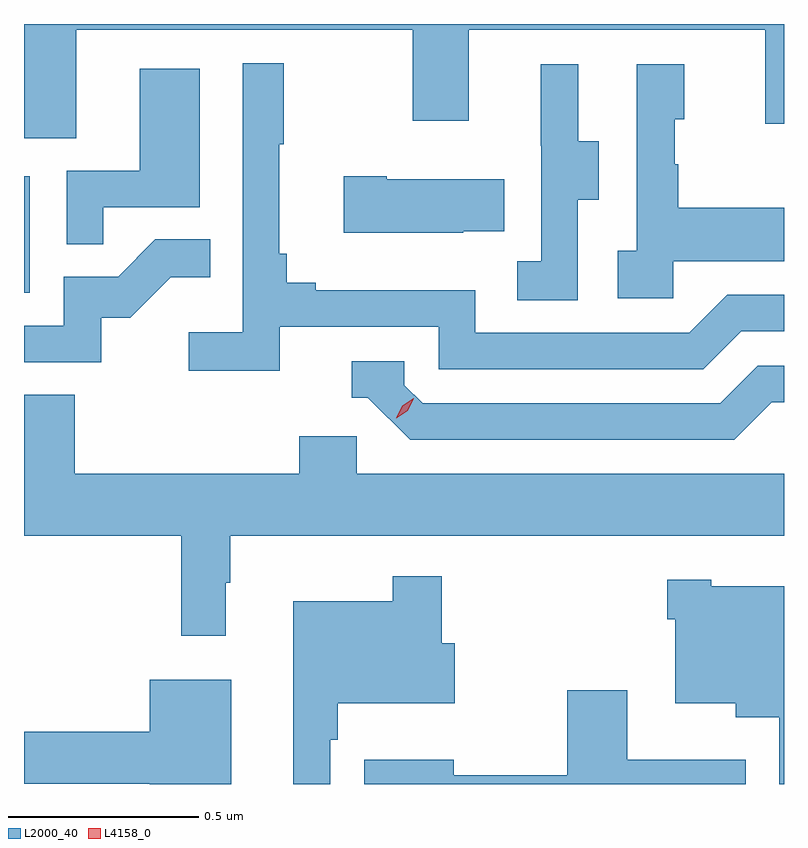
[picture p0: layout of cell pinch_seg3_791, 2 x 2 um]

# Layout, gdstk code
import gdstk
lib = gdstk.Library(unit=1e-6, precision=1e-09)
def R(c, l, rs):  # rectangles x0, y0, x1, y1
    for r in rs: c.add(gdstk.rectangle(r[:2], r[2:], *l))
def P(c, l, *ps):  # polygons
    for p in ps: c.add(gdstk.Polygon(p, *l))
L2000_40 = (2000, 40)
L4158_0 = (4158, 0)

pinch_seg3_791 = lib.new_cell('pinch_seg3_791')
R(pinch_seg3_791, L2000_40, [(817.705,738.852,817.72,739.159)])
P(pinch_seg3_791, L2000_40, [(817.843,739.544),(818.728,739.544),(818.728,739.305),(818.875,739.305),(818.875,739.544),(819.656,739.544),(819.656,739.296),(819.705,739.296),(819.705,739.559),(817.705,739.559),(817.705,739.258),(817.843,739.258)],
  [(818.378,738.762),(818.796,738.762),(818.796,738.651),(819.493,738.651),(819.592,738.75),(819.705,738.75),(819.705,738.846),(819.555,738.846),(819.456,738.747),(818.892,738.747),(818.892,738.859),(818.473,738.859),(818.473,738.878),(818.396,738.878),(818.396,738.955),(818.377,738.955),(818.377,739.243),(818.389,739.243),(818.389,739.456),(818.28,739.456),(818.28,738.748),(818.139,738.748),(818.139,738.646),(818.378,738.646)],
  [(819.414,738.935),(819.705,738.935),(819.705,739.075),(819.427,739.075),(819.427,739.19),(819.417,739.19),(819.417,739.308),(819.442,739.308),(819.442,739.453),(819.318,739.453),(819.318,738.962),(819.267,738.962),(819.267,738.837),(819.414,738.837)],
  [(819.162,739.096),(819.217,739.096),(819.217,739.251),(819.163,739.251),(819.163,739.453),(819.065,739.453),(819.065,739.239),(819.066,739.239),(819.066,738.935),(819.003,738.935),(819.003,738.832),(819.162,738.832)],
  [(817.913,739.077),(818.167,739.077),(818.167,739.441),(818.009,739.441),(818.009,739.173),(817.818,739.173),(817.818,738.979),(817.913,738.979)],
  [(818.861,739.013),(818.969,739.013),(818.969,739.15),(818.659,739.15),(818.659,739.158),(818.547,739.158),(818.547,739.01),(818.861,739.01)],
  [(817.908,738.786),(817.984,738.786),(818.091,738.893),(818.195,738.893),(818.195,738.992),(818.051,738.992),(817.953,738.894),(817.809,738.894),(817.809,738.765),(817.705,738.765),(817.705,738.669),(817.908,738.669)],
  [(819.673,738.564),(819.705,738.564),(819.705,738.66),(819.636,738.66),(819.537,738.561),(818.754,738.561),(818.706,738.609),(818.706,738.672),(818.567,738.672),(818.567,738.576),(818.61,738.576),(818.721,738.465),(819.574,738.465)],
  [(818.236,738.089),(818.248,738.089),(818.248,738.212),(819.705,738.212),(819.705,738.376),(818.58,738.376),(818.58,738.474),(818.429,738.474),(818.429,738.376),(817.838,738.376),(817.838,738.584),(817.705,738.584),(817.705,738.212),(818.119,738.212),(818.119,737.949),(818.236,737.949)],
  [(818.511,737.675),(818.531,737.675),(818.531,737.771),(818.839,737.771),(818.839,737.929),(818.804,737.929),(818.804,738.106),(818.676,738.106),(818.676,738.04),(818.414,738.04),(818.414,737.559),(818.511,737.559)],
  [(819.705,738.079),(819.513,738.079),(819.513,738.097),(819.398,738.097),(819.398,737.993),(819.419,737.993),(819.419,737.771),(819.578,737.771),(819.578,737.735),(819.693,737.735),(819.693,737.559),(819.705,737.559)],
  [(818.251,737.833),(818.036,737.833),(818.036,737.696),(817.705,737.696),(817.705,737.56),(818.036,737.56),(818.036,737.559),(818.251,737.559)],
  [(819.604,737.623),(819.292,737.623),(819.292,737.806),(819.134,737.806),(819.134,737.582),(818.836,737.582),(818.836,737.623),(818.6,737.623),(818.6,737.559),(819.604,737.559)])
P(pinch_seg3_791, L4158_0, [(818.684,738.521),(818.684,738.521),(818.7,738.554),(818.731,738.574),(818.731,738.574),(818.731,738.574),(818.715,738.541),(818.685,738.521)])

lib.write_gds('pinch_seg3_791.gds')
